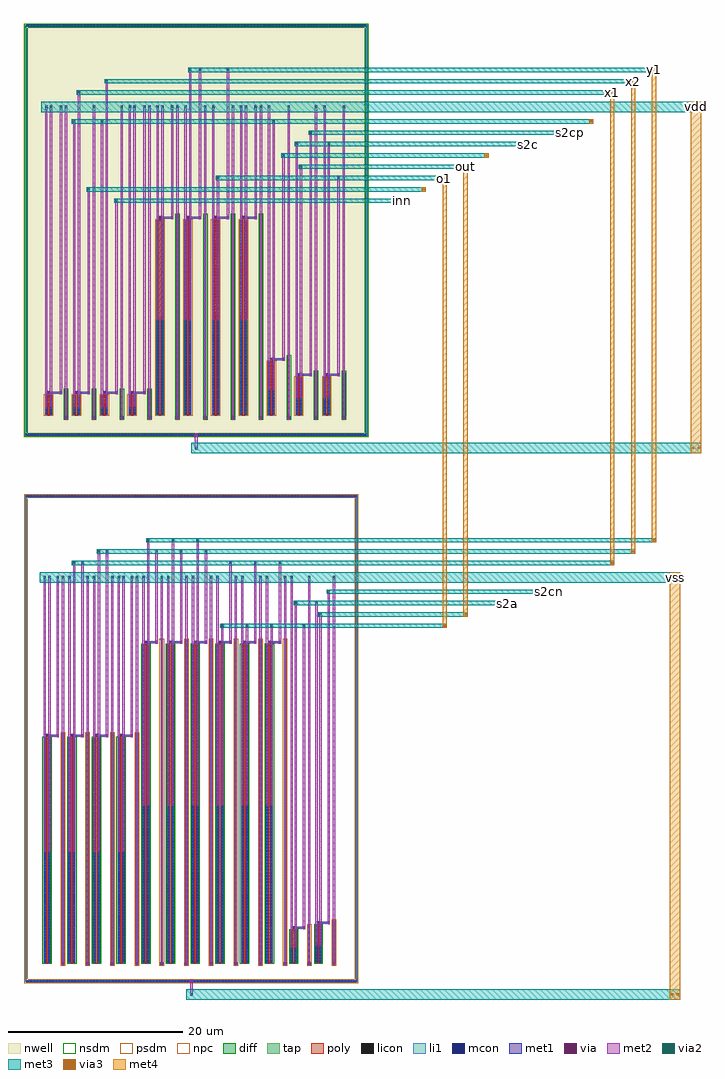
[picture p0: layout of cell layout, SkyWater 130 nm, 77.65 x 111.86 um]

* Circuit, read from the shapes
.subckt layout inn inp o1 out s1t s2a s2c s2cn s2cp t1 vdd vss x1 x2 y1
XM1 vss vss vss vss sky130_fd_pr__nfet_01v8 w=25.74 l=0.25 m=2
XM2 x1 x1 vss vss sky130_fd_pr__nfet_01v8 w=25.74 l=0.25
XM3 x2 x2 vss vss sky130_fd_pr__nfet_01v8 w=25.74 l=0.25
XM4 y1 x2 vss vss sky130_fd_pr__nfet_01v8 w=36.42 l=0.25 m=3
XM5 o1 x1 vss vss sky130_fd_pr__nfet_01v8 w=36.42 l=0.25 m=3
XM6 s2a o1 vss vss sky130_fd_pr__nfet_01v8 w=3.71 l=0.18
XM7 out s2cn s2a vss sky130_fd_pr__nfet_01v8 w=4.28 l=0.18
XM8 vdd vdd vdd vdd sky130_fd_pr__pfet_01v8 w=2.21 l=0.25 m=2
XM9 x1 inp t1 vdd sky130_fd_pr__pfet_01v8 w=2.21 l=0.25
XM10 x2 inn t1 vdd sky130_fd_pr__pfet_01v8 w=2.21 l=0.25
XM11 vdd vdd vdd vdd sky130_fd_pr__pfet_01v8 w=22.28 l=0.25 m=2
XM12 y1 y1 vdd vdd sky130_fd_pr__pfet_01v8 w=22.28 l=0.25
XM13 o1 y1 vdd vdd sky130_fd_pr__pfet_01v8 w=22.28 l=0.25
XM14 t1 s1t vdd vdd sky130_fd_pr__pfet_01v8 w=6.06 l=0.25
XM15 out s2cp s2c vdd sky130_fd_pr__pfet_01v8 w=4.28 l=0.18
XM16 s2c o1 vdd vdd sky130_fd_pr__pfet_01v8 w=4.28 l=0.18
.ends

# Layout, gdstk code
import gdstk
lib = gdstk.Library(unit=1e-6, precision=1e-09)
def R(c, l, rs):  # rectangles x0, y0, x1, y1
    for r in rs: c.add(gdstk.rectangle(r[:2], r[2:], *l))
def A(c, l, x, y, w, h, nx, ny, dx, dy):  # array of equal rectangles
    R(c, l, [(x+i*dx, y+j*dy, x+i*dx+w, y+j*dy+h) for i in range(nx) for j in range(ny)])
nwell = (64, 20)
diff = (65, 20)
tap = (65, 44)
poly = (66, 20)
licon = (66, 44)
li1 = (67, 20)
mcon = (67, 44)
met1 = (68, 20)
via = (68, 44)
met2 = (69, 20)
via2 = (69, 44)
met3 = (70, 20)
via3 = (70, 44)
met4 = (71, 20)
nsdm = (93, 44)
psdm = (94, 20)
npc = (95, 20)

layout = lib.new_cell('layout')
R(layout, nwell, [(0,66.09,39.55,113.51)])
A(layout, diff, 2.265, 5.88, 0.83, 25.74, 4, 1, 2.83, 0)
A(layout, diff, 13.585, 5.88, 0.83, 36.42, 6, 1, 2.83, 0)
A(layout, diff, 2.445, 68.665, 0.83, 2.21, 4, 1, 3.19, 0)
A(layout, diff, 15.205, 68.665, 0.83, 22.28, 4, 1, 3.19, 0)
R(layout, diff, [(30.565,5.88,31.325,9.59), (33.395,5.88,34.155,10.16), (27.965,68.665,28.795,74.725), (31.155,68.665,31.915,72.945), (34.345,68.665,35.105,72.945)])
A(layout, tap, 4.36, 5.63, 0.27, 26.55, 4, 1, 2.83, 0)
A(layout, tap, 15.68, 5.63, 0.27, 37.23, 6, 1, 2.83, 0)
A(layout, tap, 4.72, 68.235, 0.27, 3.26, 4, 1, 3.19, 0)
A(layout, tap, 17.48, 68.235, 0.27, 23.33, 4, 1, 3.19, 0)
R(layout, tap, [(0.18,3.665,38.24,3.835), (0.18,3.835,0.35,59.255), (38.07,3.835,38.24,59.255), (32.59,5.63,32.86,10.15), (35.42,5.63,35.69,10.72), (0.18,59.255,38.24,59.425), (0.18,66.27,39.37,66.44), (0.18,66.44,0.35,113.16), (39.2,66.44,39.37,113.16), (30.24,68.235,30.51,75.345), (33.36,68.235,33.63,73.565), (36.55,68.235,36.82,73.565), (0.18,113.16,39.37,113.33)])
A(layout, poly, 2.555, 5.75, 0.25, 25.98, 4, 1, 2.83, 0)
A(layout, poly, 13.875, 5.75, 0.25, 36.66, 6, 1, 2.83, 0)
A(layout, poly, 2.515, 31.73, 0.33, 0.33, 4, 1, 2.83, 0)
A(layout, poly, 13.835, 42.41, 0.33, 0.33, 6, 1, 2.83, 0)
A(layout, poly, 2.735, 68.535, 0.25, 2.495, 4, 1, 3.19, 0)
A(layout, poly, 15.495, 68.535, 0.25, 22.565, 4, 1, 3.19, 0)
A(layout, poly, 2.695, 71.03, 0.33, 0.33, 4, 1, 3.19, 0)
A(layout, poly, 15.455, 91.1, 0.33, 0.33, 4, 1, 3.19, 0)
R(layout, poly, [(30.855,5.75,31.035,9.7), (33.685,5.75,33.865,10.27), (30.78,9.7,31.11,10.03), (33.61,10.27,33.94,10.6), (28.255,68.535,28.505,74.88), (31.445,68.535,31.625,73.1), (34.635,68.535,34.815,73.1), (31.37,73.1,31.7,73.43), (34.56,73.1,34.89,73.43), (28.215,74.88,28.545,75.21)])
A(layout, licon, 0.765, 3.665, 0.17, 0.17, 109, 2, 0.34, 55.59)
A(layout, licon, 0.18, 4.26, 0.17, 0.17, 1, 161, 0, 0.34)
A(layout, licon, 38.07, 4.26, 0.17, 0.17, 1, 161, 0, 0.34)
A(layout, licon, 32.64, 5.765, 0.17, 0.17, 1, 13, 0, 0.34)
A(layout, licon, 15.73, 5.8, 0.17, 0.17, 6, 109, 2.83, 0.34)
A(layout, licon, 35.47, 5.88, 0.17, 0.17, 1, 14, 0, 0.34)
A(layout, licon, 4.41, 5.9, 0.17, 0.17, 4, 77, 2.83, 0.34)
A(layout, licon, 30.625, 5.95, 0.17, 0.17, 1, 11, 0, 0.34)
A(layout, licon, 31.095, 5.95, 0.17, 0.17, 1, 11, 0, 0.34)
A(layout, licon, 13.645, 5.985, 0.17, 0.17, 1, 107, 0, 0.34)
A(layout, licon, 14.185, 5.985, 0.17, 0.17, 1, 107, 0, 0.34)
A(layout, licon, 16.475, 5.985, 0.17, 0.17, 1, 107, 0, 0.34)
A(layout, licon, 17.015, 5.985, 0.17, 0.17, 1, 107, 0, 0.34)
A(layout, licon, 19.305, 5.985, 0.17, 0.17, 1, 107, 0, 0.34)
A(layout, licon, 19.845, 5.985, 0.17, 0.17, 1, 107, 0, 0.34)
A(layout, licon, 22.135, 5.985, 0.17, 0.17, 1, 107, 0, 0.34)
A(layout, licon, 22.675, 5.985, 0.17, 0.17, 1, 107, 0, 0.34)
A(layout, licon, 24.965, 5.985, 0.17, 0.17, 1, 107, 0, 0.34)
A(layout, licon, 25.505, 5.985, 0.17, 0.17, 1, 107, 0, 0.34)
A(layout, licon, 27.795, 5.985, 0.17, 0.17, 1, 107, 0, 0.34)
A(layout, licon, 28.335, 5.985, 0.17, 0.17, 1, 107, 0, 0.34)
A(layout, licon, 33.455, 6.065, 0.17, 0.17, 1, 12, 0, 0.34)
A(layout, licon, 33.925, 6.065, 0.17, 0.17, 1, 12, 0, 0.34)
A(layout, licon, 2.325, 6.085, 0.17, 0.17, 1, 75, 0, 0.34)
A(layout, licon, 2.865, 6.085, 0.17, 0.17, 1, 75, 0, 0.34)
A(layout, licon, 5.155, 6.085, 0.17, 0.17, 1, 75, 0, 0.34)
A(layout, licon, 5.695, 6.085, 0.17, 0.17, 1, 75, 0, 0.34)
A(layout, licon, 7.985, 6.085, 0.17, 0.17, 1, 75, 0, 0.34)
A(layout, licon, 8.525, 6.085, 0.17, 0.17, 1, 75, 0, 0.34)
A(layout, licon, 10.815, 6.085, 0.17, 0.17, 1, 75, 0, 0.34)
A(layout, licon, 11.355, 6.085, 0.17, 0.17, 1, 75, 0, 0.34)
A(layout, licon, 2.595, 31.81, 0.17, 0.17, 4, 1, 2.83, 0)
A(layout, licon, 13.915, 42.49, 0.17, 0.17, 6, 1, 2.83, 0)
A(layout, licon, 0.82, 66.27, 0.17, 0.17, 112, 2, 0.34, 46.89)
A(layout, licon, 0.18, 66.765, 0.17, 0.17, 1, 136, 0, 0.34)
A(layout, licon, 39.2, 66.765, 0.17, 0.17, 1, 136, 0, 0.34)
A(layout, licon, 4.77, 68.42, 0.17, 0.17, 4, 9, 3.19, 0.34)
A(layout, licon, 17.53, 68.425, 0.17, 0.17, 4, 68, 3.19, 0.34)
A(layout, licon, 33.41, 68.435, 0.17, 0.17, 1, 15, 0, 0.34)
A(layout, licon, 36.6, 68.435, 0.17, 0.17, 1, 15, 0, 0.34)
A(layout, licon, 30.29, 68.475, 0.17, 0.17, 1, 20, 0, 0.34)
A(layout, licon, 2.505, 68.835, 0.17, 0.17, 1, 6, 0, 0.34)
A(layout, licon, 3.045, 68.835, 0.17, 0.17, 1, 6, 0, 0.34)
A(layout, licon, 5.695, 68.835, 0.17, 0.17, 1, 6, 0, 0.34)
A(layout, licon, 6.235, 68.835, 0.17, 0.17, 1, 6, 0, 0.34)
A(layout, licon, 8.885, 68.835, 0.17, 0.17, 1, 6, 0, 0.34)
A(layout, licon, 9.425, 68.835, 0.17, 0.17, 1, 6, 0, 0.34)
A(layout, licon, 12.075, 68.835, 0.17, 0.17, 1, 6, 0, 0.34)
A(layout, licon, 12.615, 68.835, 0.17, 0.17, 1, 6, 0, 0.34)
A(layout, licon, 15.265, 68.84, 0.17, 0.17, 1, 65, 0, 0.34)
A(layout, licon, 15.805, 68.84, 0.17, 0.17, 1, 65, 0, 0.34)
A(layout, licon, 18.455, 68.84, 0.17, 0.17, 1, 65, 0, 0.34)
A(layout, licon, 18.995, 68.84, 0.17, 0.17, 1, 65, 0, 0.34)
A(layout, licon, 21.645, 68.84, 0.17, 0.17, 1, 65, 0, 0.34)
A(layout, licon, 22.185, 68.84, 0.17, 0.17, 1, 65, 0, 0.34)
A(layout, licon, 24.835, 68.84, 0.17, 0.17, 1, 65, 0, 0.34)
A(layout, licon, 25.375, 68.84, 0.17, 0.17, 1, 65, 0, 0.34)
A(layout, licon, 31.215, 68.85, 0.17, 0.17, 1, 12, 0, 0.34)
A(layout, licon, 31.685, 68.85, 0.17, 0.17, 1, 12, 0, 0.34)
A(layout, licon, 34.405, 68.85, 0.17, 0.17, 1, 12, 0, 0.34)
A(layout, licon, 34.875, 68.85, 0.17, 0.17, 1, 12, 0, 0.34)
A(layout, licon, 28.025, 68.89, 0.17, 0.17, 1, 17, 0, 0.34)
A(layout, licon, 28.565, 68.89, 0.17, 0.17, 1, 17, 0, 0.34)
A(layout, licon, 2.775, 71.11, 0.17, 0.17, 4, 1, 3.19, 0)
A(layout, licon, 15.535, 91.18, 0.17, 0.17, 4, 1, 3.19, 0)
R(layout, licon, [(30.86,9.78,31.03,9.95), (33.69,10.35,33.86,10.52), (31.45,73.18,31.62,73.35), (34.64,73.18,34.81,73.35), (28.295,74.96,28.465,75.13)])
A(layout, li1, 4.33, 5.585, 0.33, 0.33, 10, 1, 2.83, 0)
A(layout, li1, 4.41, 5.915, 0.17, 26.225, 4, 1, 2.83, 0)
A(layout, li1, 15.73, 5.915, 0.17, 36.905, 6, 1, 2.83, 0)
A(layout, li1, 2.515, 31.81, 0.33, 0.17, 4, 1, 2.83, 0)
A(layout, li1, 13.835, 42.49, 0.33, 0.17, 6, 1, 2.83, 0)
A(layout, li1, 4.69, 68.19, 0.33, 0.33, 9, 1, 3.19, 0)
A(layout, li1, 4.77, 68.52, 0.17, 2.935, 4, 1, 3.19, 0)
A(layout, li1, 17.53, 68.52, 0.17, 23.005, 4, 1, 3.19, 0)
A(layout, li1, 2.695, 71.11, 0.33, 0.17, 4, 1, 3.19, 0)
A(layout, li1, 15.455, 91.18, 0.33, 0.17, 4, 1, 3.19, 0)
R(layout, li1, [(0.18,3.665,38.24,3.835), (0.18,3.835,0.35,59.255), (38.07,3.835,38.24,59.255), (32.56,5.585,32.89,5.915), (35.39,5.585,35.72,5.915), (2.325,5.86,2.495,31.64), (2.865,5.86,3.035,31.64), (5.155,5.86,5.325,31.64), (5.695,5.86,5.865,31.64), (7.985,5.86,8.155,31.64), (8.525,5.86,8.695,31.64), (10.815,5.86,10.985,31.64), (11.355,5.86,11.525,31.64), (13.645,5.86,13.815,42.32), (14.185,5.86,14.355,42.32), (16.475,5.86,16.645,42.32), (17.015,5.86,17.185,42.32), (19.305,5.86,19.475,42.32), (19.845,5.86,20.015,42.32), (22.135,5.86,22.305,42.32), (22.675,5.86,22.845,42.32), (24.965,5.86,25.135,42.32), (25.505,5.86,25.675,42.32), (27.795,5.86,27.965,42.32), (28.335,5.86,28.505,42.32), (30.625,5.86,30.795,9.61), (31.095,5.86,31.265,9.61), (33.455,5.86,33.625,10.18), (33.925,5.86,34.095,10.18), (32.64,5.915,32.81,10.11), (35.47,5.915,35.64,10.68), (30.78,9.78,31.11,9.95), (33.61,10.35,33.94,10.52), (0.18,59.255,38.24,59.425), (0.18,66.27,39.37,66.44), (0.18,66.44,0.35,113.16), (39.2,66.44,39.37,113.16), (33.33,68.19,33.66,68.52), (36.52,68.19,36.85,68.52), (30.29,68.52,30.46,75.305), (33.41,68.52,33.58,73.525), (36.6,68.52,36.77,73.525), (2.505,68.645,2.675,70.895), (3.045,68.645,3.215,70.895), (5.695,68.645,5.865,70.895), (6.235,68.645,6.405,70.895), (8.885,68.645,9.055,70.895), (9.425,68.645,9.595,70.895), (12.075,68.645,12.245,70.895), (12.615,68.645,12.785,70.895), (15.265,68.645,15.435,90.965), (15.805,68.645,15.975,90.965), (18.455,68.645,18.625,90.965), (18.995,68.645,19.165,90.965), (21.645,68.645,21.815,90.965), (22.185,68.645,22.355,90.965), (24.835,68.645,25.005,90.965), (25.375,68.645,25.545,90.965), (28.025,68.645,28.195,74.745), (28.565,68.645,28.735,74.745), (31.215,68.645,31.385,72.965), (31.685,68.645,31.855,72.965), (34.405,68.645,34.575,72.965), (34.875,68.645,35.045,72.965), (31.37,73.18,31.7,73.35), (34.56,73.18,34.89,73.35), (28.215,74.96,28.545,75.13), (0.18,113.16,39.37,113.33)])
A(layout, mcon, 0.405, 3.665, 0.17, 0.17, 105, 2, 0.36, 55.59)
A(layout, mcon, 4.41, 5.665, 0.17, 0.17, 10, 1, 2.83, 0)
A(layout, mcon, 33.455, 5.955, 0.17, 0.17, 1, 12, 0, 0.36)
A(layout, mcon, 33.925, 5.955, 0.17, 0.17, 1, 12, 0, 0.36)
A(layout, mcon, 13.645, 6.005, 0.17, 0.17, 1, 101, 0, 0.36)
A(layout, mcon, 14.185, 6.005, 0.17, 0.17, 1, 101, 0, 0.36)
A(layout, mcon, 16.475, 6.005, 0.17, 0.17, 1, 101, 0, 0.36)
A(layout, mcon, 17.015, 6.005, 0.17, 0.17, 1, 101, 0, 0.36)
A(layout, mcon, 19.305, 6.005, 0.17, 0.17, 1, 101, 0, 0.36)
A(layout, mcon, 19.845, 6.005, 0.17, 0.17, 1, 101, 0, 0.36)
A(layout, mcon, 22.135, 6.005, 0.17, 0.17, 1, 101, 0, 0.36)
A(layout, mcon, 22.675, 6.005, 0.17, 0.17, 1, 101, 0, 0.36)
A(layout, mcon, 24.965, 6.005, 0.17, 0.17, 1, 101, 0, 0.36)
A(layout, mcon, 25.505, 6.005, 0.17, 0.17, 1, 101, 0, 0.36)
A(layout, mcon, 27.795, 6.005, 0.17, 0.17, 1, 101, 0, 0.36)
A(layout, mcon, 28.335, 6.005, 0.17, 0.17, 1, 101, 0, 0.36)
A(layout, mcon, 30.625, 6.03, 0.17, 0.17, 1, 10, 0, 0.36)
A(layout, mcon, 31.095, 6.03, 0.17, 0.17, 1, 10, 0, 0.36)
A(layout, mcon, 2.325, 6.065, 0.17, 0.17, 1, 71, 0, 0.36)
A(layout, mcon, 2.865, 6.065, 0.17, 0.17, 1, 71, 0, 0.36)
A(layout, mcon, 5.155, 6.065, 0.17, 0.17, 1, 71, 0, 0.36)
A(layout, mcon, 5.695, 6.065, 0.17, 0.17, 1, 71, 0, 0.36)
A(layout, mcon, 7.985, 6.065, 0.17, 0.17, 1, 71, 0, 0.36)
A(layout, mcon, 8.525, 6.065, 0.17, 0.17, 1, 71, 0, 0.36)
A(layout, mcon, 10.815, 6.065, 0.17, 0.17, 1, 71, 0, 0.36)
A(layout, mcon, 11.355, 6.065, 0.17, 0.17, 1, 71, 0, 0.36)
A(layout, mcon, 2.595, 31.81, 0.17, 0.17, 4, 1, 2.83, 0)
A(layout, mcon, 13.915, 42.49, 0.17, 0.17, 6, 1, 2.83, 0)
A(layout, mcon, 0.43, 66.27, 0.17, 0.17, 108, 2, 0.36, 46.89)
A(layout, mcon, 4.77, 68.27, 0.17, 0.17, 9, 1, 3.19, 0)
A(layout, mcon, 28.025, 68.73, 0.17, 0.17, 1, 17, 0, 0.36)
A(layout, mcon, 28.565, 68.73, 0.17, 0.17, 1, 17, 0, 0.36)
A(layout, mcon, 15.265, 68.74, 0.17, 0.17, 1, 62, 0, 0.36)
A(layout, mcon, 15.805, 68.74, 0.17, 0.17, 1, 62, 0, 0.36)
A(layout, mcon, 18.455, 68.74, 0.17, 0.17, 1, 62, 0, 0.36)
A(layout, mcon, 18.995, 68.74, 0.17, 0.17, 1, 62, 0, 0.36)
A(layout, mcon, 21.645, 68.74, 0.17, 0.17, 1, 62, 0, 0.36)
A(layout, mcon, 22.185, 68.74, 0.17, 0.17, 1, 62, 0, 0.36)
A(layout, mcon, 24.835, 68.74, 0.17, 0.17, 1, 62, 0, 0.36)
A(layout, mcon, 25.375, 68.74, 0.17, 0.17, 1, 62, 0, 0.36)
A(layout, mcon, 31.215, 68.74, 0.17, 0.17, 1, 12, 0, 0.36)
A(layout, mcon, 31.685, 68.74, 0.17, 0.17, 1, 12, 0, 0.36)
A(layout, mcon, 34.405, 68.74, 0.17, 0.17, 1, 12, 0, 0.36)
A(layout, mcon, 34.875, 68.74, 0.17, 0.17, 1, 12, 0, 0.36)
A(layout, mcon, 2.505, 68.785, 0.17, 0.17, 1, 6, 0, 0.36)
A(layout, mcon, 3.045, 68.785, 0.17, 0.17, 1, 6, 0, 0.36)
A(layout, mcon, 5.695, 68.785, 0.17, 0.17, 1, 6, 0, 0.36)
A(layout, mcon, 6.235, 68.785, 0.17, 0.17, 1, 6, 0, 0.36)
A(layout, mcon, 8.885, 68.785, 0.17, 0.17, 1, 6, 0, 0.36)
A(layout, mcon, 9.425, 68.785, 0.17, 0.17, 1, 6, 0, 0.36)
A(layout, mcon, 12.075, 68.785, 0.17, 0.17, 1, 6, 0, 0.36)
A(layout, mcon, 12.615, 68.785, 0.17, 0.17, 1, 6, 0, 0.36)
A(layout, mcon, 2.775, 71.11, 0.17, 0.17, 4, 1, 3.19, 0)
A(layout, mcon, 15.535, 91.18, 0.17, 0.17, 4, 1, 3.19, 0)
R(layout, mcon, [(32.64,5.665,32.81,5.835), (35.47,5.665,35.64,5.835), (30.86,9.78,31.03,9.95), (33.69,10.35,33.86,10.52), (33.41,68.27,33.58,68.44), (36.6,68.27,36.77,68.44), (31.45,73.18,31.62,73.35), (34.64,73.18,34.81,73.35), (28.295,74.96,28.465,75.13)])
A(layout, met1, 4.365, 5.57, 0.26, 0.015, 10, 2, 2.83, 0.345)
A(layout, met1, 4.33, 5.585, 0.33, 0.33, 10, 1, 2.83, 0)
A(layout, met1, 3.765, 31.715, 0.26, 0.065, 4, 2, 2.83, 0.295)
A(layout, met1, 2.535, 31.78, 1.49, 0.23, 4, 1, 2.83, 0)
A(layout, met1, 15.085, 42.395, 0.26, 0.065, 6, 2, 2.83, 0.295)
A(layout, met1, 13.855, 42.46, 1.49, 0.23, 6, 1, 2.83, 0)
A(layout, met1, 4.725, 68.175, 0.26, 0.015, 9, 2, 3.19, 0.345)
A(layout, met1, 4.69, 68.19, 0.33, 0.33, 9, 1, 3.19, 0)
A(layout, met1, 4.125, 71.015, 0.26, 0.065, 4, 2, 3.19, 0.295)
A(layout, met1, 2.715, 71.08, 1.67, 0.23, 4, 1, 3.19, 0)
A(layout, met1, 16.885, 91.085, 0.26, 0.065, 4, 2, 3.19, 0.295)
A(layout, met1, 15.475, 91.15, 1.67, 0.23, 4, 1, 3.19, 0)
R(layout, met1, [(19.08,3.57,19.34,3.635), (0.29,3.635,38.13,3.865), (19.08,3.865,19.34,3.93), (32.595,5.57,32.855,5.585), (35.425,5.57,35.685,5.585), (32.56,5.585,32.89,5.915), (35.39,5.585,35.72,5.915), (2.295,5.88,2.525,18.57), (2.835,5.88,3.065,18.57), (5.125,5.88,5.355,18.57), (5.665,5.88,5.895,18.57), (7.955,5.88,8.185,18.57), (8.495,5.88,8.725,18.57), (10.785,5.88,11.015,18.57), (11.325,5.88,11.555,18.57), (13.615,5.88,13.845,23.91), (14.155,5.88,14.385,23.91), (16.445,5.88,16.675,23.91), (16.985,5.88,17.215,23.91), (19.275,5.88,19.505,23.91), (19.815,5.88,20.045,23.91), (22.105,5.88,22.335,23.91), (22.645,5.88,22.875,23.91), (24.935,5.88,25.165,23.91), (25.475,5.88,25.705,23.91), (27.765,5.88,27.995,23.91), (28.305,5.88,28.535,23.91), (30.595,5.88,30.825,7.555), (31.065,5.88,31.295,7.555), (33.425,5.88,33.655,7.84), (33.895,5.88,34.125,7.84), (32.595,5.915,32.855,5.93), (35.425,5.915,35.685,5.93), (30.58,7.555,30.84,7.915), (31.05,7.555,31.31,7.915), (33.41,7.84,33.67,8.2), (33.88,7.84,34.14,8.2), (30.595,7.915,30.825,9.59), (31.065,7.915,31.295,9.59), (33.425,8.2,33.655,10.16), (33.895,8.2,34.125,10.16), (31.995,9.685,32.255,9.75), (30.8,9.75,32.255,9.98), (31.995,9.98,32.255,10.045), (34.825,10.255,35.085,10.32), (33.63,10.32,35.085,10.55), (34.825,10.55,35.085,10.615), (2.28,18.57,2.54,18.93), (2.82,18.57,3.08,18.93), (5.11,18.57,5.37,18.93), (5.65,18.57,5.91,18.93), (7.94,18.57,8.2,18.93), (8.48,18.57,8.74,18.93), (10.77,18.57,11.03,18.93), (11.31,18.57,11.57,18.93), (2.295,18.93,2.525,31.62), (2.835,18.93,3.065,31.62), (5.125,18.93,5.355,31.62), (5.665,18.93,5.895,31.62), (7.955,18.93,8.185,31.62), (8.495,18.93,8.725,31.62), (10.785,18.93,11.015,31.62), (11.325,18.93,11.555,31.62), (13.6,23.91,13.86,24.27), (14.14,23.91,14.4,24.27), (16.43,23.91,16.69,24.27), (16.97,23.91,17.23,24.27), (19.26,23.91,19.52,24.27), (19.8,23.91,20.06,24.27), (22.09,23.91,22.35,24.27), (22.63,23.91,22.89,24.27), (24.92,23.91,25.18,24.27), (25.46,23.91,25.72,24.27), (27.75,23.91,28.01,24.27), (28.29,23.91,28.55,24.27), (13.615,24.27,13.845,42.3), (14.155,24.27,14.385,42.3), (16.445,24.27,16.675,42.3), (16.985,24.27,17.215,42.3), (19.275,24.27,19.505,42.3), (19.815,24.27,20.045,42.3), (22.105,24.27,22.335,42.3), (22.645,24.27,22.875,42.3), (24.935,24.27,25.165,42.3), (25.475,24.27,25.705,42.3), (27.765,24.27,27.995,42.3), (28.305,24.27,28.535,42.3), (0.29,59.225,38.13,59.455), (19.645,66.175,19.905,66.24), (0.29,66.24,39.26,66.47), (19.645,66.47,19.905,66.535), (33.365,68.175,33.625,68.19), (36.555,68.175,36.815,68.19), (33.33,68.19,33.66,68.52), (36.52,68.19,36.85,68.52), (33.365,68.52,33.625,68.535), (36.555,68.52,36.815,68.535), (2.475,68.665,2.705,69.59), (3.015,68.665,3.245,69.59), (5.665,68.665,5.895,69.59), (6.205,68.665,6.435,69.59), (8.855,68.665,9.085,69.59), (9.395,68.665,9.625,69.59), (12.045,68.665,12.275,69.59), (12.585,68.665,12.815,69.59), (15.235,68.665,15.465,79.625), (15.775,68.665,16.005,79.625), (18.425,68.665,18.655,79.625), (18.965,68.665,19.195,79.625), (21.615,68.665,21.845,79.625), (22.155,68.665,22.385,79.625), (24.805,68.665,25.035,79.625), (25.345,68.665,25.575,79.625), (27.995,68.665,28.225,71.515), (28.535,68.665,28.765,71.515), (31.185,68.665,31.415,70.625), (31.655,68.665,31.885,70.625), (34.375,68.665,34.605,70.625), (34.845,68.665,35.075,70.625), (2.46,69.59,2.72,69.95), (3,69.59,3.26,69.95), (5.65,69.59,5.91,69.95), (6.19,69.59,6.45,69.95), (8.84,69.59,9.1,69.95), (9.38,69.59,9.64,69.95), (12.03,69.59,12.29,69.95), (12.57,69.59,12.83,69.95), (2.475,69.95,2.705,70.875), (3.015,69.95,3.245,70.875), (5.665,69.95,5.895,70.875), (6.205,69.95,6.435,70.875), (8.855,69.95,9.085,70.875), (9.395,69.95,9.625,70.875), (12.045,69.95,12.275,70.875), (12.585,69.95,12.815,70.875), (31.17,70.625,31.43,70.985), (31.64,70.625,31.9,70.985), (34.36,70.625,34.62,70.985), (34.83,70.625,35.09,70.985), (31.185,70.985,31.415,72.945), (31.655,70.985,31.885,72.945), (34.375,70.985,34.605,72.945), (34.845,70.985,35.075,72.945), (27.98,71.515,28.24,71.875), (28.52,71.515,28.78,71.875), (27.995,71.875,28.225,74.725), (28.535,71.875,28.765,74.725), (32.765,73.085,33.025,73.15), (35.955,73.085,36.215,73.15), (31.39,73.15,33.025,73.38), (34.58,73.15,36.215,73.38), (32.765,73.38,33.025,73.445), (35.955,73.38,36.215,73.445), (29.645,74.865,29.905,74.93), (28.235,74.93,29.905,75.16), (29.645,75.16,29.905,75.225), (15.22,79.625,15.48,79.985), (15.76,79.625,16.02,79.985), (18.41,79.625,18.67,79.985), (18.95,79.625,19.21,79.985), (21.6,79.625,21.86,79.985), (22.14,79.625,22.4,79.985), (24.79,79.625,25.05,79.985), (25.33,79.625,25.59,79.985), (15.235,79.985,15.465,90.945), (15.775,79.985,16.005,90.945), (18.425,79.985,18.655,90.945), (18.965,79.985,19.195,90.945), (21.615,79.985,21.845,90.945), (22.155,79.985,22.385,90.945), (24.805,79.985,25.035,90.945), (25.345,79.985,25.575,90.945), (0.29,113.13,39.26,113.36)])
A(layout, via, 4.42, 5.675, 0.15, 0.15, 10, 1, 2.83, 0)
A(layout, via, 3.82, 31.82, 0.15, 0.15, 4, 1, 2.83, 0)
A(layout, via, 15.14, 42.5, 0.15, 0.15, 6, 1, 2.83, 0)
A(layout, via, 4.78, 68.28, 0.15, 0.15, 9, 1, 3.19, 0)
A(layout, via, 4.18, 71.12, 0.15, 0.15, 4, 1, 3.19, 0)
A(layout, via, 16.94, 91.19, 0.15, 0.15, 4, 1, 3.19, 0)
R(layout, via, [(19.135,3.675,19.285,3.825), (32.65,5.675,32.8,5.825), (35.48,5.675,35.63,5.825), (30.635,7.66,30.785,7.81), (31.105,7.66,31.255,7.81), (33.465,7.945,33.615,8.095), (33.935,7.945,34.085,8.095), (32.05,9.79,32.2,9.94), (34.88,10.36,35.03,10.51), (2.335,18.675,2.485,18.825), (2.875,18.675,3.025,18.825), (5.165,18.675,5.315,18.825), (5.705,18.675,5.855,18.825), (7.995,18.675,8.145,18.825), (8.535,18.675,8.685,18.825), (10.825,18.675,10.975,18.825), (11.365,18.675,11.515,18.825), (13.655,24.015,13.805,24.165), (14.195,24.015,14.345,24.165), (16.485,24.015,16.635,24.165), (17.025,24.015,17.175,24.165), (19.315,24.015,19.465,24.165), (19.855,24.015,20.005,24.165), (22.145,24.015,22.295,24.165), (22.685,24.015,22.835,24.165), (24.975,24.015,25.125,24.165), (25.515,24.015,25.665,24.165), (27.805,24.015,27.955,24.165), (28.345,24.015,28.495,24.165), (19.7,66.28,19.85,66.43), (33.42,68.28,33.57,68.43), (36.61,68.28,36.76,68.43), (2.515,69.695,2.665,69.845), (3.055,69.695,3.205,69.845), (5.705,69.695,5.855,69.845), (6.245,69.695,6.395,69.845), (8.895,69.695,9.045,69.845), (9.435,69.695,9.585,69.845), (12.085,69.695,12.235,69.845), (12.625,69.695,12.775,69.845), (31.225,70.73,31.375,70.88), (31.695,70.73,31.845,70.88), (34.415,70.73,34.565,70.88), (34.885,70.73,35.035,70.88), (28.035,71.62,28.185,71.77), (28.575,71.62,28.725,71.77), (32.82,73.19,32.97,73.34), (36.01,73.19,36.16,73.34), (29.7,74.97,29.85,75.12), (15.275,79.73,15.425,79.88), (15.815,79.73,15.965,79.88), (18.465,79.73,18.615,79.88), (19.005,79.73,19.155,79.88), (21.655,79.73,21.805,79.88), (22.195,79.73,22.345,79.88), (24.845,79.73,24.995,79.88), (25.385,79.73,25.535,79.88)])
A(layout, met2, 4.365, 5.57, 0.26, 44.28, 10, 1, 2.83, 0)
A(layout, met2, 5.11, 18.57, 0.26, 31.28, 3, 1, 2.83, 0)
A(layout, met2, 13.6, 23.91, 0.26, 25.94, 6, 1, 2.83, 0)
A(layout, met2, 14.14, 23.91, 0.26, 30.19, 3, 1, 2.83, 0)
A(layout, met2, 22.63, 23.91, 0.26, 20.39, 3, 1, 2.83, 0)
A(layout, met2, 15.085, 42.395, 0.26, 10.405, 3, 1, 2.83, 0)
A(layout, met2, 23.575, 42.395, 0.26, 9.105, 3, 1, 2.83, 0)
A(layout, met2, 22.62, 44.3, 0.28, 0.38, 3, 1, 2.83, 0)
A(layout, met2, 23.565, 51.5, 0.28, 0.38, 3, 1, 2.83, 0)
A(layout, met2, 15.075, 52.8, 0.28, 0.38, 3, 1, 2.83, 0)
A(layout, met2, 14.13, 54.1, 0.28, 0.38, 3, 1, 2.83, 0)
A(layout, met2, 4.725, 68.175, 0.26, 35.58, 9, 1, 3.19, 0)
A(layout, met2, 18.41, 79.625, 0.26, 24.13, 3, 1, 3.19, 0)
A(layout, met2, 4.715, 103.755, 0.28, 0.38, 3, 1, 3.19, 0)
R(layout, met2, [(19.07,2.06,19.35,2.1), (19.06,2.1,19.36,3.9), (19.08,3.9,19.34,3.93), (32.595,5.57,32.855,49.85), (35.425,5.57,35.685,49.85), (30.58,7.555,30.84,49.85), (31.05,7.555,31.31,46.9), (33.41,7.84,33.67,46.9), (33.88,7.84,34.14,45.6), (31.995,9.685,32.255,44.3), (34.825,10.255,35.085,48.2), (2.28,18.57,2.54,49.85), (2.82,18.57,3.08,49.85), (5.65,18.57,5.91,51.5), (8.48,18.57,8.74,52.8), (11.31,18.57,11.57,49.85), (3.765,31.715,4.025,49.85), (6.595,31.715,6.855,51.5), (9.425,31.715,9.685,52.8), (12.255,31.715,12.515,49.85), (31.985,44.3,32.265,44.68), (33.87,45.6,34.15,45.98), (31.04,46.9,31.32,47.28), (33.4,46.9,33.68,47.28), (34.815,48.2,35.095,48.58), (2.27,49.85,2.55,50.23), (2.81,49.85,3.09,50.23), (3.755,49.85,4.035,50.23), (4.355,49.85,4.635,50.23), (5.1,49.85,5.38,50.23), (7.185,49.85,7.465,50.23), (7.93,49.85,8.21,50.23), (10.015,49.85,10.295,50.23), (10.76,49.85,11.04,50.23), (11.3,49.85,11.58,50.23), (12.245,49.85,12.525,50.23), (12.845,49.85,13.125,50.23), (13.59,49.85,13.87,50.23), (15.675,49.85,15.955,50.23), (16.42,49.85,16.7,50.23), (18.505,49.85,18.785,50.23), (19.25,49.85,19.53,50.23), (21.335,49.85,21.615,50.23), (22.08,49.85,22.36,50.23), (24.165,49.85,24.445,50.23), (24.91,49.85,25.19,50.23), (26.995,49.85,27.275,50.23), (27.74,49.85,28.02,50.23), (29.825,49.85,30.105,50.23), (30.57,49.85,30.85,50.23), (32.585,49.85,32.865,50.23), (35.415,49.85,35.695,50.23), (5.64,51.5,5.92,51.88), (6.585,51.5,6.865,51.88), (8.47,52.8,8.75,53.18), (9.415,52.8,9.695,53.18), (19.635,64.665,19.915,64.705), (19.625,64.705,19.925,66.505), (19.645,66.505,19.905,66.535), (33.365,68.175,33.625,103.755), (36.555,68.175,36.815,103.755), (2.46,69.59,2.72,103.755), (3,69.59,3.26,103.755), (5.65,69.59,5.91,102.105), (6.19,69.59,6.45,105.405), (8.84,69.59,9.1,102.105), (9.38,69.59,9.64,106.705), (12.03,69.59,12.29,103.755), (12.57,69.59,12.83,103.755), (31.17,70.625,31.43,99.505), (31.64,70.625,31.9,96.905), (34.36,70.625,34.62,103.755), (34.83,70.625,35.09,99.505), (4.125,71.015,4.385,103.755), (7.315,71.015,7.575,94.305), (10.505,71.015,10.765,93.005), (13.695,71.015,13.955,103.755), (27.98,71.515,28.24,103.755), (28.52,71.515,28.78,102.105), (32.765,73.085,33.025,100.805), (35.955,73.085,36.215,95.605), (29.645,74.865,29.905,98.205), (15.22,79.625,15.48,103.755), (15.76,79.625,16.02,103.755), (18.95,79.625,19.21,108.005), (22.14,79.625,22.4,95.605), (25.33,79.625,25.59,103.755), (16.885,91.085,17.145,103.755), (20.075,91.085,20.335,108.005), (23.265,91.085,23.525,108.005), (26.455,91.085,26.715,103.755), (10.495,93.005,10.775,93.385), (7.305,94.305,7.585,94.685), (22.13,95.605,22.41,95.985), (35.945,95.605,36.225,95.985), (31.63,96.905,31.91,97.285), (29.635,98.205,29.915,98.585), (31.16,99.505,31.44,99.885), (34.82,99.505,35.1,99.885), (32.755,100.805,33.035,101.185), (5.64,102.105,5.92,102.485), (8.83,102.105,9.11,102.485), (28.51,102.105,28.79,102.485), (2.45,103.755,2.73,104.135), (2.99,103.755,3.27,104.135), (4.115,103.755,4.395,104.135), (12.02,103.755,12.3,104.135), (12.56,103.755,12.84,104.135), (13.685,103.755,13.965,104.135), (14.285,103.755,14.565,104.135), (15.21,103.755,15.49,104.135), (15.75,103.755,16.03,104.135), (16.875,103.755,17.155,104.135), (17.475,103.755,17.755,104.135), (18.4,103.755,18.68,104.135), (20.665,103.755,20.945,104.135), (21.59,103.755,21.87,104.135), (23.855,103.755,24.135,104.135), (24.78,103.755,25.06,104.135), (25.32,103.755,25.6,104.135), (26.445,103.755,26.725,104.135), (27.045,103.755,27.325,104.135), (27.97,103.755,28.25,104.135), (30.235,103.755,30.515,104.135), (33.355,103.755,33.635,104.135), (34.35,103.755,34.63,104.135), (36.545,103.755,36.825,104.135), (6.18,105.405,6.46,105.785), (9.37,106.705,9.65,107.085), (18.94,108.005,19.22,108.385), (20.065,108.005,20.345,108.385), (23.255,108.005,23.535,108.385)])
A(layout, via2, 22.66, 44.39, 0.2, 0.2, 3, 1, 2.83, 0)
A(layout, via2, 23.605, 51.59, 0.2, 0.2, 3, 1, 2.83, 0)
A(layout, via2, 15.115, 52.89, 0.2, 0.2, 3, 1, 2.83, 0)
A(layout, via2, 14.17, 54.19, 0.2, 0.2, 3, 1, 2.83, 0)
A(layout, via2, 4.755, 103.845, 0.2, 0.2, 3, 1, 3.19, 0)
R(layout, via2, [(19.11,2.15,19.31,2.35), (32.025,44.39,32.225,44.59), (33.91,45.69,34.11,45.89), (31.08,46.99,31.28,47.19), (33.44,46.99,33.64,47.19), (34.855,48.29,35.055,48.49), (2.31,49.94,2.51,50.14), (2.85,49.94,3.05,50.14), (3.795,49.94,3.995,50.14), (4.395,49.94,4.595,50.14), (5.14,49.94,5.34,50.14), (7.225,49.94,7.425,50.14), (7.97,49.94,8.17,50.14), (10.055,49.94,10.255,50.14), (10.8,49.94,11,50.14), (11.34,49.94,11.54,50.14), (12.285,49.94,12.485,50.14), (12.885,49.94,13.085,50.14), (13.63,49.94,13.83,50.14), (15.715,49.94,15.915,50.14), (16.46,49.94,16.66,50.14), (18.545,49.94,18.745,50.14), (19.29,49.94,19.49,50.14), (21.375,49.94,21.575,50.14), (22.12,49.94,22.32,50.14), (24.205,49.94,24.405,50.14), (24.95,49.94,25.15,50.14), (27.035,49.94,27.235,50.14), (27.78,49.94,27.98,50.14), (29.865,49.94,30.065,50.14), (30.61,49.94,30.81,50.14), (32.625,49.94,32.825,50.14), (35.455,49.94,35.655,50.14), (5.68,51.59,5.88,51.79), (6.625,51.59,6.825,51.79), (8.51,52.89,8.71,53.09), (9.455,52.89,9.655,53.09), (19.675,64.755,19.875,64.955), (10.535,93.095,10.735,93.295), (7.345,94.395,7.545,94.595), (22.17,95.695,22.37,95.895), (35.985,95.695,36.185,95.895), (31.67,96.995,31.87,97.195), (29.675,98.295,29.875,98.495), (31.2,99.595,31.4,99.795), (34.86,99.595,35.06,99.795), (32.795,100.895,32.995,101.095), (5.68,102.195,5.88,102.395), (8.87,102.195,9.07,102.395), (28.55,102.195,28.75,102.395), (2.49,103.845,2.69,104.045), (3.03,103.845,3.23,104.045), (4.155,103.845,4.355,104.045), (12.06,103.845,12.26,104.045), (12.6,103.845,12.8,104.045), (13.725,103.845,13.925,104.045), (14.325,103.845,14.525,104.045), (15.25,103.845,15.45,104.045), (15.79,103.845,15.99,104.045), (16.915,103.845,17.115,104.045), (17.515,103.845,17.715,104.045), (18.44,103.845,18.64,104.045), (20.705,103.845,20.905,104.045), (21.63,103.845,21.83,104.045), (23.895,103.845,24.095,104.045), (24.82,103.845,25.02,104.045), (25.36,103.845,25.56,104.045), (26.485,103.845,26.685,104.045), (27.085,103.845,27.285,104.045), (28.01,103.845,28.21,104.045), (30.275,103.845,30.475,104.045), (33.395,103.845,33.595,104.045), (34.39,103.845,34.59,104.045), (36.585,103.845,36.785,104.045), (6.22,105.495,6.42,105.695), (9.41,106.795,9.61,106.995), (18.98,108.095,19.18,108.295), (20.105,108.095,20.305,108.295), (23.295,108.095,23.495,108.295)])
R(layout, met3, [(18.61,1.65,75.25,2.85), (22.51,44.24,48.5,44.74), (33.76,45.54,50.9,46.04), (30.93,46.84,55.7,47.34), (34.705,48.14,60.5,48.64), (1.81,49.44,75.25,50.64), (5.53,51.44,67.7,51.94), (8.36,52.74,70.1,53.24), (14.02,54.04,72.5,54.54), (19.175,64.255,77.65,65.455), (10.385,92.945,43.7,93.445), (7.195,94.245,46.1,94.745), (22.02,95.545,48.5,96.045), (31.52,96.845,50.9,97.345), (29.525,98.145,53.3,98.645), (31.05,99.445,58.1,99.945), (32.645,100.745,62.9,101.245), (5.53,102.045,65.3,102.545), (1.99,103.345,77.65,104.545), (6.07,105.345,67.7,105.845), (9.26,106.645,70.1,107.145), (18.83,107.945,72.5,108.445)])
R(layout, via3, [(74.23,2.15,74.43,2.35), (74.87,2.15,75.07,2.35), (48.15,44.39,48.35,44.59), (50.55,45.69,50.75,45.89), (55.35,46.99,55.55,47.19), (60.15,48.29,60.35,48.49), (74.23,49.94,74.43,50.14), (74.87,49.94,75.07,50.14), (67.35,51.59,67.55,51.79), (69.75,52.89,69.95,53.09), (72.15,54.19,72.35,54.39), (76.63,64.755,76.83,64.955), (77.27,64.755,77.47,64.955), (43.35,93.095,43.55,93.295), (45.75,94.395,45.95,94.595), (48.15,95.695,48.35,95.895), (50.55,96.995,50.75,97.195), (52.95,98.295,53.15,98.495), (57.75,99.595,57.95,99.795), (62.55,100.895,62.75,101.095), (64.95,102.195,65.15,102.395), (76.63,103.845,76.83,104.045), (77.27,103.845,77.47,104.045), (67.35,105.495,67.55,105.695), (69.75,106.795,69.95,106.995), (72.15,108.095,72.35,108.295)])
R(layout, met4, [(74.05,1.65,75.25,50.64), (48,44.24,48.5,96.045), (50.4,45.54,50.9,97.345), (55.2,46.84,55.7,47.34), (60,48.14,60.5,48.64), (67.2,51.44,67.7,105.845), (69.6,52.74,70.1,107.145), (72,54.04,72.5,108.445), (76.45,64.255,77.65,104.545), (43.2,92.945,43.7,93.445), (45.6,94.245,46.1,94.745), (52.8,98.145,53.3,98.645), (57.6,99.445,58.1,99.945), (62.4,100.745,62.9,101.245), (64.8,102.045,65.3,102.545)])
A(layout, nsdm, 2.14, 5.755, 1.08, 25.99, 4, 1, 2.83, 0)
A(layout, nsdm, 13.46, 5.755, 1.08, 36.67, 6, 1, 2.83, 0)
A(layout, nsdm, 4.595, 68.11, 0.52, 3.51, 4, 1, 3.19, 0)
A(layout, nsdm, 17.355, 68.11, 0.52, 23.58, 4, 1, 3.19, 0)
R(layout, nsdm, [(30.44,5.755,31.45,9.715), (33.27,5.755,34.28,10.285), (0.055,66.145,39.495,66.565), (0.055,66.565,0.475,113.035), (39.075,66.565,39.495,113.035), (30.115,68.11,30.635,75.47), (33.235,68.11,33.755,73.69), (36.425,68.11,36.945,73.69), (0.055,113.035,39.495,113.455)])
A(layout, psdm, 4.235, 5.505, 0.52, 26.8, 4, 1, 2.83, 0)
A(layout, psdm, 15.555, 5.505, 0.52, 37.48, 6, 1, 2.83, 0)
A(layout, psdm, 2.32, 68.54, 1.08, 2.46, 4, 1, 3.19, 0)
A(layout, psdm, 15.08, 68.54, 1.08, 22.53, 4, 1, 3.19, 0)
R(layout, psdm, [(0.055,3.54,38.365,3.96), (0.055,3.96,0.475,59.13), (37.945,3.96,38.365,59.13), (32.465,5.505,32.985,10.275), (35.295,5.505,35.815,10.845), (0.055,59.13,38.365,59.55), (27.84,68.54,28.92,74.85), (31.03,68.54,32.04,73.07), (34.22,68.54,35.23,73.07)])
A(layout, npc, 2.495, 31.71, 0.37, 0.37, 4, 1, 2.83, 0)
A(layout, npc, 13.815, 42.39, 0.37, 0.37, 6, 1, 2.83, 0)
A(layout, npc, 2.675, 71.01, 0.37, 0.37, 4, 1, 3.19, 0)
A(layout, npc, 15.435, 91.08, 0.37, 0.37, 4, 1, 3.19, 0)
R(layout, npc, [(30.76,9.68,31.13,10.05), (33.59,10.25,33.96,10.62), (31.35,73.08,31.72,73.45), (34.54,73.08,34.91,73.45), (28.195,74.86,28.565,75.23)])
layout.add(gdstk.Label('inn', (43.45,93.195), layer=71, texttype=5))
layout.add(gdstk.Label('inp', (45.85,94.495), layer=71, texttype=5))
layout.add(gdstk.Label('o1', (48.25,95.795), layer=71, texttype=5))
layout.add(gdstk.Label('out', (50.65,97.095), layer=71, texttype=5))
layout.add(gdstk.Label('s1t', (53.05,98.395), layer=71, texttype=5))
layout.add(gdstk.Label('s2a', (55.45,47.09), layer=71, texttype=5))
layout.add(gdstk.Label('s2c', (57.85,99.695), layer=71, texttype=5))
layout.add(gdstk.Label('s2cn', (60.25,48.39), layer=71, texttype=5))
layout.add(gdstk.Label('s2cp', (62.65,100.995), layer=71, texttype=5))
layout.add(gdstk.Label('t1', (65.05,102.295), layer=71, texttype=5))
layout.add(gdstk.Label('vdd', (77.05,103.945), layer=71, texttype=5))
layout.add(gdstk.Label('vss', (74.65,50.04), layer=71, texttype=5))
layout.add(gdstk.Label('x1', (67.45,105.595), layer=71, texttype=5))
layout.add(gdstk.Label('x2', (69.85,106.895), layer=71, texttype=5))
layout.add(gdstk.Label('y1', (72.25,108.195), layer=71, texttype=5))

lib.write_gds('layout.gds')
